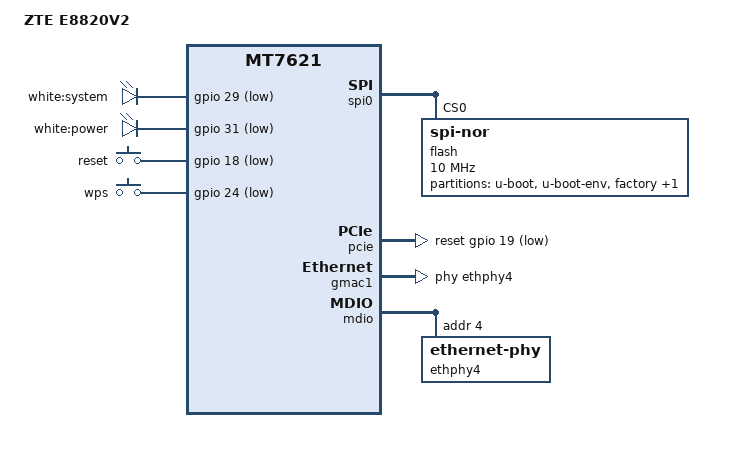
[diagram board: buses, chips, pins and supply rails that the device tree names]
// SPDX-License-Identifier: GPL-2.0-or-later OR MIT

#include "mt7621.dtsi"

#include <dt-bindings/gpio/gpio.h>
#include <dt-bindings/input/input.h>

/ {
	compatible = "zte,e8820v2", "mediatek,mt7621-soc";
	model = "ZTE E8820V2";

	aliases {
		led-boot = &power_led;
		led-failsafe = &system_led;
		led-running = &system_led;
		led-upgrade = &system_led;
		label-mac-device = &gmac0;
	};

	chosen {
		bootargs = "console=ttyS0,115200";
	};

	gpio-leds {
		compatible = "gpio-leds";

		system_led: sys {
			label = "white:system";
			gpios = <&gpio 29 GPIO_ACTIVE_LOW>;
		};

		power_led: power {
			label = "white:power";
			gpios = <&gpio 31 GPIO_ACTIVE_LOW>;
		};
	};

	gpio-keys {
		compatible = "gpio-keys";

		reset {
			label = "reset";
			gpios = <&gpio 18 GPIO_ACTIVE_LOW>;
			linux,code = <KEY_RESTART>;
		};

		wps {
			label = "wps";
			gpios = <&gpio 24 GPIO_ACTIVE_LOW>;
			linux,code = <KEY_WPS_BUTTON>;
		};
	};
};

&spi0 {
	status = "okay";

	flash@0 {
		compatible = "jedec,spi-nor";
		reg = <0>;
		spi-max-frequency = <10000000>;
		broken-flash-reset;

		partitions {
			compatible = "fixed-partitions";
			#address-cells = <1>;
			#size-cells = <1>;

			partition@0 {
				label = "u-boot";
				reg = <0x0 0x30000>;
				read-only;
			};

			partition@30000 {
				label = "u-boot-env";
				reg = <0x30000 0x10000>;
				read-only;
			};

			factory: partition@40000 {
				compatible = "nvmem-cells";
				label = "factory";
				reg = <0x40000 0x10000>;
				#address-cells = <1>;
				#size-cells = <1>;
				read-only;

				eeprom_factory_0: eeprom@0 {
					reg = <0x0 0x400>;
				};

				eeprom_factory_8000: eeprom@8000 {
					reg = <0x8000 0x200>;
				};

				macaddr_factory_4: macaddr@4 {
					reg = <0x4 0x6>;
				};

				macaddr_factory_e000: macaddr@e000 {
					reg = <0xe000 0x6>;
				};

				macaddr_factory_e006: macaddr@e006 {
					reg = <0xe006 0x6>;
				};
			};

			partition@50000 {
				compatible = "denx,uimage";
				label = "firmware";
				reg = <0x50000 0xfb0000>;
			};
		};
	};
};

&pcie {
	status = "okay";
	reset-gpios = <&gpio 19 GPIO_ACTIVE_LOW>,
				  <&gpio 4 GPIO_ACTIVE_LOW>;
};

&pcie0 {
	wifi@0,0 {
		reg = <0x0000 0 0 0 0>;
		nvmem-cells = <&eeprom_factory_0>, <&macaddr_factory_e000>;
		nvmem-cell-names = "eeprom", "mac-address";
		ieee80211-freq-limit = <2400000 2500000>;

		led {
			led-active-low;
		};
	};
};

&pcie1 {
	wifi@0,0 {
		reg = <0x0000 0 0 0 0>;
		nvmem-cells = <&eeprom_factory_8000>, <&macaddr_factory_e006>;
		nvmem-cell-names = "eeprom", "mac-address";
		ieee80211-freq-limit = <5000000 6000000>;

		led {
			led-sources = <2>;
			led-active-low;
		};
	};
};


&gmac0 {
	nvmem-cells = <&macaddr_factory_e000>;
	nvmem-cell-names = "mac-address";
};

&gmac1 {
	status = "okay";
	label = "wan";
	phy-handle = <&ethphy4>;

	nvmem-cells = <&macaddr_factory_e006>;
	nvmem-cell-names = "mac-address";
};

&mdio {
	ethphy4: ethernet-phy@4 {
		reg = <4>;
	};
};

&switch0 {
	ports {
		port@0 {
			status = "okay";
			label = "lan1";
		};

		port@1 {
			status = "okay";
			label = "lan2";
		};

		port@2 {
			status = "okay";
			label = "lan3";
		};

		port@3 {
			status = "okay";
			label = "lan4";
		};
	};
};

&state_default {
	gpio {
		groups = "i2c", "uart2", "uart3", "wdt";
		function = "gpio";
	};
};
